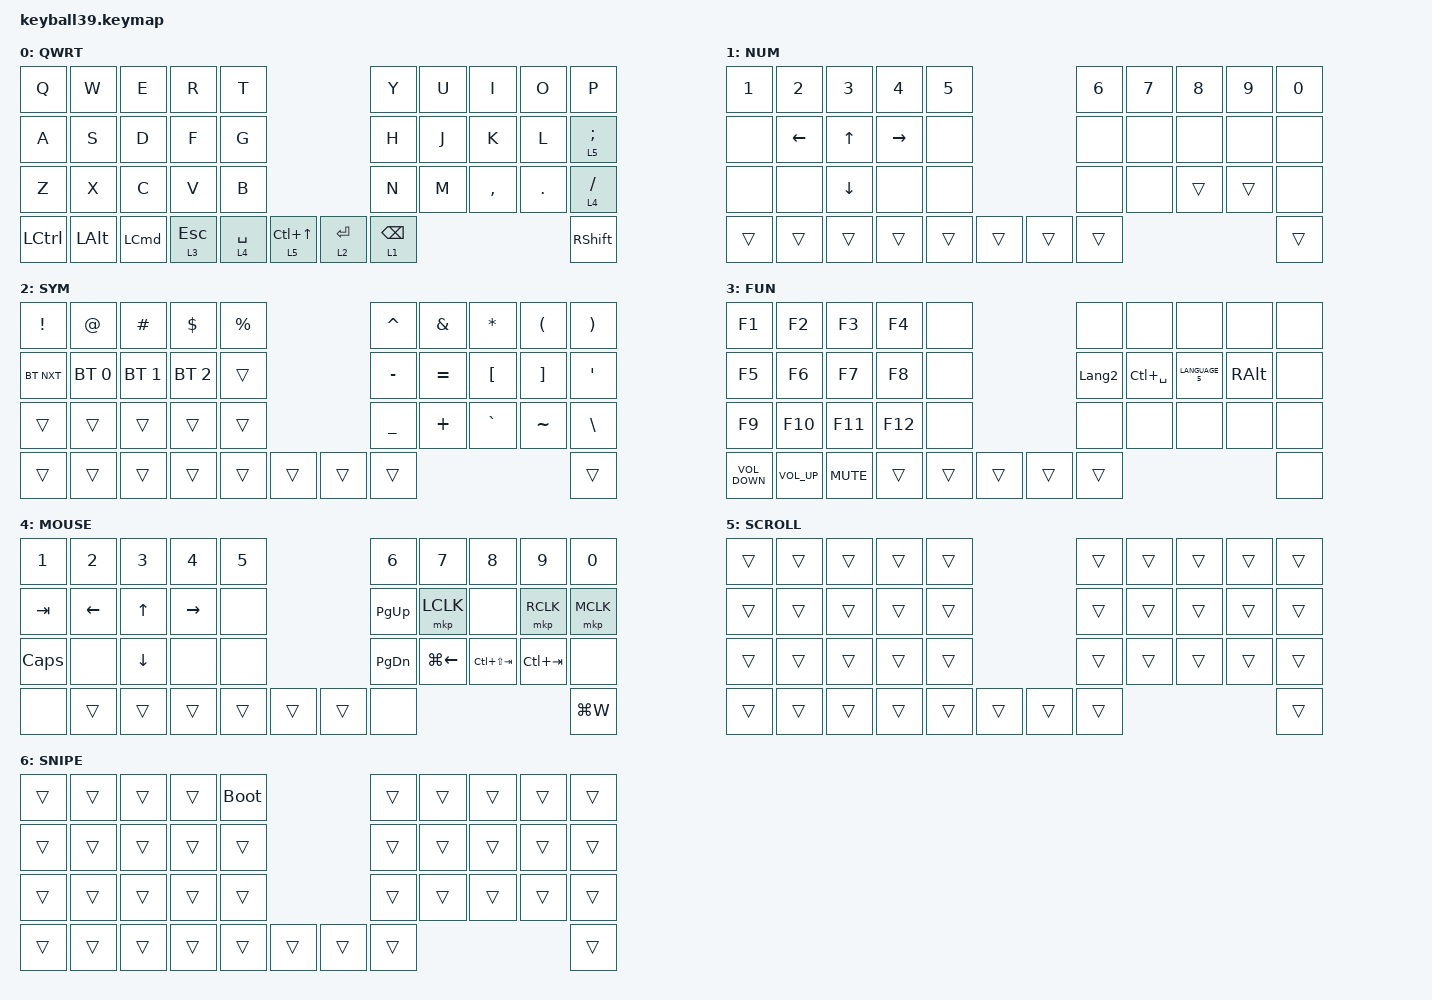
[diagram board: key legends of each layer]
#define DEFAULT 0
#define NUM     1
#define SYM     2
#define FUN     3
#define MOUSE   4
#define SCROLL  5
#define SNIPE   6

#include <behaviors/mouse_keys.dtsi>
#include <dt-bindings/zmk/mouse.h>
#include <behaviors.dtsi>
#include <dt-bindings/zmk/bt.h>
#include <dt-bindings/zmk/keys.h>
#include <dt-bindings/zmk/pointing.h>

&lt {
    tapping-term-ms = <240>;
    flavor = "balanced";
    quick-tap-ms = <150>;
};

&mt {
    tapping-term-ms = <200>;
    flavor = "tap-preferred";
    quick-tap-ms = <150>;
};

&caps_word { continue-list = <UNDERSCORE MINUS>; };

/ {
    // custom shift using mod-morph 

    behaviors {
        cmqus: comma_question {
            compatible = "zmk,behavior-mod-morph";
            label = "COMMA_QUESTION";
            #binding-cells = <0>;
            bindings = <&kp COMMA>, <&kp QUESTION>;

            mods = <(MOD_LSFT|MOD_RSFT)>;
        };

        dtsmi: dot_semi {
            compatible = "zmk,behavior-mod-morph";
            label = "DOT_SEMI";
            #binding-cells = <0>;
            bindings = <&kp DOT>, <&kp SEMI>;

            mods = <(MOD_LSFT|MOD_RSFT)>;
        };
    };

    macros {
        Hiragana: Hiragana {
            compatible = "zmk,behavior-macro";
            #binding-cells = <0>;
            bindings = <&kp LC(SPACE)>;
            label = "HIRAGANA";
        };
    };

    keymap {
        compatible = "zmk,keymap";

        default_layer {
            label = "QWRT";
            bindings = <
&kp Q      &kp W         &kp E             &kp R         &kp T                                         &kp Y            &kp U  &kp I      &kp O    &kp P
&kp A      &kp S         &kp D             &kp F         &kp G                                         &kp H            &kp J  &kp K      &kp L    &lt 5 SEMICOLON
&kp Z      &kp X         &kp C             &kp V         &kp B                                         &kp N            &kp M  &kp COMMA  &kp DOT  &lt 4 SLASH
&kp LCTRL  &kp LEFT_ALT  &kp LEFT_COMMAND  &lt 3 ESCAPE  &lt 4 SPACE  &lt 5 LC(UP_ARROW)  &lt 2 ENTER  &lt 1 BACKSPACE                             &kp RIGHT_SHIFT
            >;
        };

        number_layer {
            label = "NUM";
            bindings = <
&kp NUMBER_1  &kp NUMBER_2    &kp NUMBER_3    &kp NUMBER_4  &kp NUMBER_5                  &kp NUMBER_6  &kp NUMBER_7  &kp NUMBER_8  &kp NUMBER_9  &kp NUMBER_0
&none         &kp LEFT_ARROW  &kp UP_ARROW    &kp RIGHT     &none                         &none         &none         &none         &none         &none
&none         &none           &kp DOWN_ARROW  &none         &none                         &none         &none         &trans        &trans        &none
&trans        &trans          &trans          &trans        &trans        &trans  &trans  &trans                                                  &trans
            >;
        };

        symbol_layer {
            label = "SYM";
            bindings = <
&kp EXCLAMATION  &kp AT_SIGN   &kp HASH      &kp DOLLAR    &kp PERCENT                  &kp CARET       &kp AMPERSAND  &kp ASTERISK      &kp LEFT_PARENTHESIS  &kp RIGHT_PARENTHESIS
&bt BT_NXT       &bt BT_SEL 0  &bt BT_SEL 1  &bt BT_SEL 2  &trans                       &kp MINUS       &kp EQUAL      &kp LEFT_BRACKET  &kp RIGHT_BRACKET     &kp SQT
&trans           &trans        &trans        &trans        &trans                       &kp UNDERSCORE  &kp PLUS       &kp GRAVE         &kp TILDE             &kp BACKSLASH
&trans           &trans        &trans        &trans        &trans       &trans  &trans  &trans                                                                 &trans
            >;
        };

        function_layer {
            label = "FUN";
            bindings = <
&kp F1             &kp F2           &kp F3      &kp F4   &none                   &none           &none          &none           &none     &none
&kp F5             &kp F6           &kp F7      &kp F8   &none                   &kp LANGUAGE_2  &kp LC(SPACE)  &kp LANGUAGE_5  &kp RALT  &none
&kp F9             &kp F10          &kp F11     &kp F12  &none                   &none           &none          &none           &none     &none
&kp C_VOLUME_DOWN  &kp C_VOLUME_UP  &kp K_MUTE  &trans   &trans  &trans  &trans  &trans                                                   &none
            >;
        };

        mouse_layer {
            label = "MOUSE";
            bindings = <
&kp N1        &kp N2    &kp N3        &kp N4     &kp N5                  &kp N6         &kp N7        &kp N8           &kp N9       &kp N0
&kp TAB       &kp LEFT  &kp UP_ARROW  &kp RIGHT  &none                   &kp PAGE_UP    &mkp LCLK     &none            &mkp RCLK    &mkp MCLK
&kp CAPSLOCK  &none     &kp DOWN      &none      &none                   &kp PAGE_DOWN  &kp LG(LEFT)  &kp LC(LS(TAB))  &kp LC(TAB)  &none
&none         &trans    &trans        &trans     &trans  &trans  &trans  &none                                                      &kp LG(W)
            >;
        };

        scroll_layer {
            label = "SCROLL";
            bindings = <
&trans  &trans  &trans  &trans  &trans                  &trans  &trans  &trans  &trans  &trans
&trans  &trans  &trans  &trans  &trans                  &trans  &trans  &trans  &trans  &trans
&trans  &trans  &trans  &trans  &trans                  &trans  &trans  &trans  &trans  &trans
&trans  &trans  &trans  &trans  &trans  &trans  &trans  &trans                          &trans
            >;
        };

        snipe_layer {
            label = "SNIPE";
            bindings = <
&trans  &trans  &trans  &trans  &bootloader                  &trans  &trans  &trans  &trans  &trans
&trans  &trans  &trans  &trans  &trans                       &trans  &trans  &trans  &trans  &trans
&trans  &trans  &trans  &trans  &trans                       &trans  &trans  &trans  &trans  &trans
&trans  &trans  &trans  &trans  &trans       &trans  &trans  &trans                          &trans
            >;
        };
    };
};
